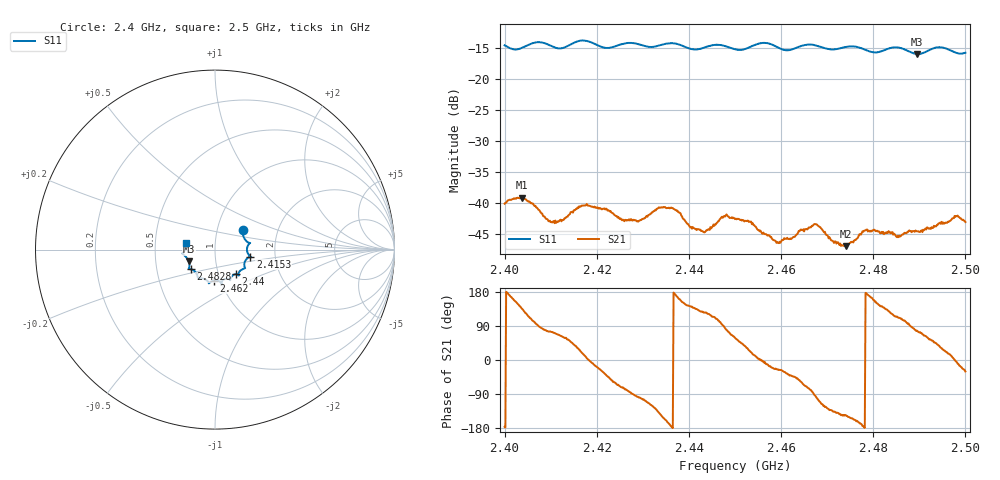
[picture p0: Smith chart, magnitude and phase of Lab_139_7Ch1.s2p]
# Hz S RI R 50
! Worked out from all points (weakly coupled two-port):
!   601 points, 2.4 GHz to 2.5 GHz, reference 50 ohm
!   highest |S21| = -39.13 dB at 2.4038 GHz (marker M1); lowest = -47.0 dB at 2.4742 GHz (marker M2)
!   lowest |S11| = -15.9 dB at 2.4895 GHz (marker M3), VSWR 1.38, Z = 37 - j5.02 ohm
!   |S11| at or under -10 dB: start of sweep to end of sweep
!   S12 and S22 are empty: the file has one direction only
!   S11 on the Smith chart (normalised r, x): 2.4 GHz: 1.33, +0.29; 2.4153 GHz: 1.48, -0.12; 2.44 GHz: 1.21, -0.34; 2.462 GHz: 0.93, -0.33; 2.4828 GHz: 0.74, -0.17; 2.5 GHz: 0.72, +0.06
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2.4e9  0.1554 0.1067  -0.00984 -0.000624  0 0  0 0
2.403833e9  0.1737 0.0489  -0.00774 0.00789  0 0  0 0
2.41e9  0.1855 0.0259  0.00184 0.00675  0 0  0 0
2.415333e9  0.1961 -0.0389  0.00694 0.00535  0 0  0 0
2.416667e9  0.2017 -0.0427  0.00891 0.00331  0 0  0 0
2.428833e9  0.1629 -0.1051  -0.00088 -0.00707  0 0  0 0
2.433333e9  0.1309 -0.1336  -0.00662 -0.00622  0 0  0 0
2.437e9  0.1322 -0.1435  -0.00873 0.00102  0 0  0 0
2.44e9  0.1143 -0.1367  -0.00523 0.00398  0 0  0 0
2.443167e9  0.0883 -0.1568  -0.00337 0.00475  0 0  0 0
2.447667e9  0.0826 -0.1673  0.000371 0.00781  0 0  0 0
2.45e9  0.065 -0.1628  0.00385 0.00631  0 0  0 0
2.459e9  0.0309 -0.181  0.00434 -0.00194  0 0  0 0
2.462e9  -0.00537 -0.1729  0.00395 -0.00333  0 0  0 0
2.466667e9  -0.0344 -0.1877  0.000828 -0.00647  0 0  0 0
2.474167e9  -0.0885 -0.1606  -0.00377 -0.0024  0 0  0 0
2.478167e9  -0.0993 -0.1431  -0.00598 -6.14e-05  0 0  0 0
2.482833e9  -0.1364 -0.1092  -0.00392 0.00413  0 0  0 0
2.483333e9  -0.1401 -0.109  -0.00371 0.0046  0 0  0 0
2.4895e9  -0.1459 -0.0661  0.00128 0.00574  0 0  0 0
2.498e9  -0.1641 0.00526  0.00782 -0.0006  0 0  0 0
2.5e9  -0.1595 0.039  0.00606 -0.00353  0 0  0 0
